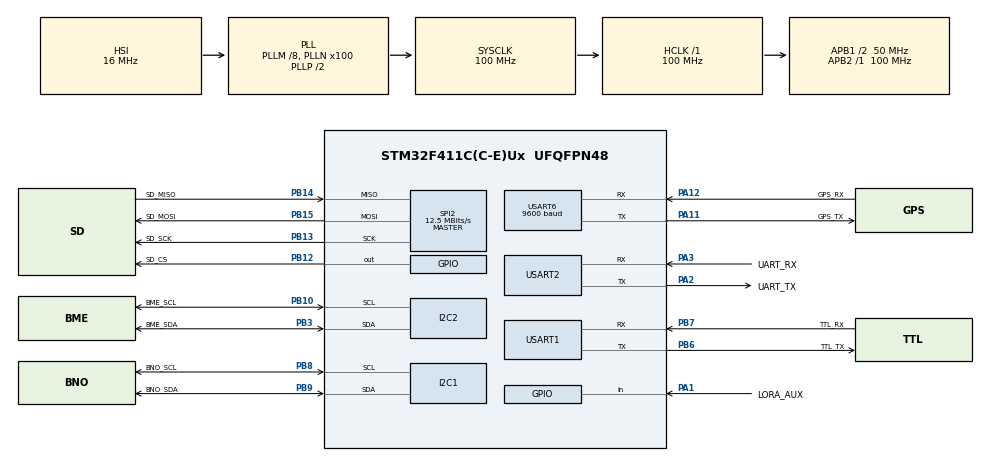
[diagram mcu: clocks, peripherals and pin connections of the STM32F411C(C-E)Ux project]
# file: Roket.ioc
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Dma.Request0=USART2_TX
Dma.USART2_TX.0.Direction=DMA_MEMORY_TO_PERIPH
Dma.USART2_TX.0.FIFOMode=DMA_FIFOMODE_DISABLE
Dma.USART2_TX.0.Instance=DMA1_Stream6
Dma.USART2_TX.0.MemDataAlignment=DMA_MDATAALIGN_BYTE
Dma.USART2_TX.0.MemInc=DMA_MINC_ENABLE
Dma.USART2_TX.0.Mode=DMA_NORMAL
Dma.USART2_TX.0.PeriphDataAlignment=DMA_PDATAALIGN_BYTE
Dma.USART2_TX.0.PeriphInc=DMA_PINC_DISABLE
Dma.USART2_TX.0.Priority=DMA_PRIORITY_LOW
I2C1.I2C_Mode=I2C_Fast
I2C2.I2C_Mode=I2C_Fast
Mcu.Family=STM32F4
Mcu.Name=STM32F411C(C-E)Ux
Mcu.Package=UFQFPN48
NVIC.DMA1_Stream6_IRQn=true\:0\:0\:false\:false\:true\:false\:true\:true
NVIC.PriorityGroup=NVIC_PRIORITYGROUP_4
NVIC.USART1_IRQn=true\:0\:0\:false\:false\:true\:true\:true\:true
NVIC.USART2_IRQn=true\:0\:0\:false\:false\:true\:true\:true\:true
NVIC.USART6_IRQn=true\:0\:0\:false\:false\:true\:true\:true\:true
PA1.GPIO_Label=LORA_AUX
PA1.Signal=GPIO_Input
PA11.GPIO_Label=GPS_TX
PA11.Mode=Asynchronous
PA11.Signal=USART6_TX
PA12.GPIO_Label=GPS_RX
PA12.Mode=Asynchronous
PA12.Signal=USART6_RX
PA2.GPIO_Label=UART_TX
PA2.Mode=Asynchronous
PA2.Signal=USART2_TX
PA3.GPIO_Label=UART_RX
PA3.Mode=Asynchronous
PA3.Signal=USART2_RX
PB10.GPIO_Label=BME_SCL
PB10.Mode=I2C
PB10.Signal=I2C2_SCL
PB12.GPIO_Label=SD_CS
PB12.Signal=GPIO_Output
PB13.GPIO_Label=SD_SCK
PB13.Mode=Full_Duplex_Master
PB13.Signal=SPI2_SCK
PB14.GPIO_Label=SD_MISO
PB14.Mode=Full_Duplex_Master
PB14.Signal=SPI2_MISO
PB15.GPIO_Label=SD_MOSI
PB15.Mode=Full_Duplex_Master
PB15.Signal=SPI2_MOSI
PB3.GPIO_Label=BME_SDA
PB3.Mode=I2C
PB3.Signal=I2C2_SDA
PB6.GPIO_Label=TTL_TX
PB6.Mode=Asynchronous
PB6.Signal=USART1_TX
PB7.GPIO_Label=TTL_RX
PB7.Mode=Asynchronous
PB7.Signal=USART1_RX
PB8.GPIO_Label=BNO_SCL
PB8.Mode=I2C
PB8.Signal=I2C1_SCL
PB9.GPIO_Label=BNO_SDA
PB9.Mode=I2C
PB9.Signal=I2C1_SDA
ProjectManager.HeapSize=0x200
ProjectManager.StackSize=0x400
ProjectManager.TargetToolchain=Makefile
RCC.48MHZClocksFreq_Value=50000000
RCC.AHBFreq_Value=100000000
RCC.APB1CLKDivider=RCC_HCLK_DIV2
RCC.APB1Freq_Value=50000000
RCC.APB1TimFreq_Value=100000000
RCC.APB2Freq_Value=100000000
RCC.APB2TimFreq_Value=100000000
RCC.CortexFreq_Value=100000000
RCC.HCLKFreq_Value=100000000
RCC.HSE_VALUE=25000000
RCC.HSI_VALUE=16000000
RCC.LSE_VALUE=32768
RCC.PLLM=8
RCC.PLLN=100
RCC.SYSCLKFreq_VALUE=100000000
RCC.SYSCLKSource=RCC_SYSCLKSOURCE_PLLCLK
RCC.VCOOutputFreq_Value=200000000
SPI2.BaudRatePrescaler=SPI_BAUDRATEPRESCALER_4
SPI2.CalculateBaudRate=12.5 MBits/s
SPI2.Direction=SPI_DIRECTION_2LINES
SPI2.Mode=SPI_MODE_MASTER
SPI2.VirtualType=VM_MASTER
USART1.VirtualMode=VM_ASYNC
USART2.VirtualMode=VM_ASYNC
USART6.BaudRate=9600
USART6.VirtualMode=VM_ASYNC
board=custom

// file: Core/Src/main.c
/* USER CODE BEGIN Header */
/**
  ******************************************************************************
  * @file           : main.c
  * @brief          : Main program body
  ******************************************************************************
  * @attention
  *
  * Copyright (c) 2026 STMicroelectronics.
  * All rights reserved.
  *
  * This software is licensed under terms that can be found in the LICENSE file
  * in the root directory of this software component.
  * If no LICENSE file comes with this software, it is provided AS-IS.
  *
  ******************************************************************************
  */
/* USER CODE END Header */
#include "main.h"

/* USER CODE BEGIN Includes */
#include "gps.h"
#include "lora_e22.h"
#include "flight_logic.h"
#include "app.h"
#include "BNO085_app.h"
#include "Quaternion.h"
/* USER CODE END Includes */

I2C_HandleTypeDef hi2c1;
I2C_HandleTypeDef hi2c2;

SPI_HandleTypeDef hspi2;

UART_HandleTypeDef huart1;
UART_HandleTypeDef huart2;
UART_HandleTypeDef huart6;
DMA_HandleTypeDef hdma_usart2_tx;

void SystemClock_Config(void);
static void MX_GPIO_Init(void);
static void MX_DMA_Init(void);
static void MX_I2C1_Init(void);
static void MX_SPI2_Init(void);
static void MX_USART2_UART_Init(void);
static void MX_USART1_UART_Init(void);
static void MX_USART6_UART_Init(void);
static void MX_I2C2_Init(void);

/* USER CODE BEGIN 0 */
void HAL_UART_RxCpltCallback(UART_HandleTypeDef *huart) {
    // Adafruit GPS on USART6
    if (huart->Instance == USART6) {
        extern uint8_t rx_byte; // Located in gps.c
        GPS_UART_RxCallback(rx_byte);
    }
}

// Struct to pack and send telemetry to the ground station
typedef struct __attribute__((packed)) {
    uint8_t  header;       // 0xAA
    float    altitude;
    float    velocity_z;
    float    pitch;
    float    latitude;
    float    longitude;
    uint8_t  flight_state; // Bitmask of current state
} GroundTelemetry_t;
/* USER CODE END 0 */

int main(void)
{

  /* MCU Configuration--------------------------------------------------------*/

  /* Reset of all peripherals, Initializes the Flash interface and the Systick. */
  HAL_Init();

  /* Configure the system clock */
  SystemClock_Config();

  /* Initialize all configured peripherals */
  MX_GPIO_Init();
  MX_DMA_Init();
  MX_I2C1_Init();
  MX_SPI2_Init();
  MX_USART2_UART_Init();
  MX_USART1_UART_Init();
  MX_USART6_UART_Init();
  MX_I2C2_Init();
  /* USER CODE BEGIN 2 */
  E22_Init();      // Wait for LoRa module to boot
  GPS_Init();      // Start listening for GPS NMEA sentences
  main_avionic_init(); // Init BME680 and BNO085

  uint32_t last_10hz_time = 0;
  GroundTelemetry_t telemetry_packet;
  memset(&telemetry_packet, 0, sizeof(GroundTelemetry_t)); // Zero out the struct
  telemetry_packet.header = 0xAA; // Ground station sync byte
  /* USER CODE END 2 */

  /* Infinite loop */
  /* USER CODE BEGIN WHILE */
  while (1)
  {
      // 1. Process GPS Data (runs whenever a full NMEA string arrives in the background)
      GPS_Process();

      // 2. Read Raw Sensors (BME680 via I2C2, BNO085 via I2C1)
      main_avionic_loop();

      float raw_alt = current_alt_m;
      float raw_vz = 0.0f; // Need to calculate derived velocity later
      float raw_pitch = BNO080_Pitch;

      // 3. KALMAN FILTER
      // Feed raw data into your Kalman equations here to get clean data
      float filtered_alt   = raw_alt;   // Placeholder
      float filtered_vz    = raw_vz;    // Placeholder
      float filtered_pitch = raw_pitch; // Placeholder

      // 4. Evaluate Flight Logic (Triggers MOSFETs if conditions are met)
      Process_Flight_Logic(filtered_alt, filtered_vz, filtered_pitch);

      // 5. The strict 10Hz (100ms) Telemetry Loop
      if (HAL_GetTick() - last_10hz_time >= 100) {
          last_10hz_time = HAL_GetTick();

          // Populate the struct with the latest filtered data
          telemetry_packet.altitude   = filtered_alt;
          telemetry_packet.velocity_z = filtered_vz;
          telemetry_packet.pitch      = filtered_pitch;

          // If GPS is locked, update coordinates
          if (current_gps_data.fix_quality > 0) {
              telemetry_packet.latitude  = current_gps_data.latitude;
              telemetry_packet.longitude = current_gps_data.longitude;
          }

          // Pack flight state into a single byte for the ground station dashboard
          telemetry_packet.flight_state =
              (current_flight_state.liftoff_detected << 0) |
              (current_flight_state.apogee_detected  << 1) |
              (current_flight_state.drogue_deployed  << 2) |
              (current_flight_state.main_deployed    << 3);

          // Send to Ground Station via LoRa E22 (USART2 via DMA)
          E22_SendPayload_DMA((uint8_t*)&telemetry_packet, sizeof(GroundTelemetry_t));
      }
    /* USER CODE END WHILE */

  }
}

void SystemClock_Config(void)
{
  RCC_OscInitTypeDef RCC_OscInitStruct = {0};
  RCC_ClkInitTypeDef RCC_ClkInitStruct = {0};

  /** Configure the main internal regulator output voltage
  */
  __HAL_RCC_PWR_CLK_ENABLE();
  __HAL_PWR_VOLTAGESCALING_CONFIG(PWR_REGULATOR_VOLTAGE_SCALE1);

  /** Initializes the RCC Oscillators according to the specified parameters
  * in the RCC_OscInitTypeDef structure.
  */
  RCC_OscInitStruct.OscillatorType = RCC_OSCILLATORTYPE_HSI;
  RCC_OscInitStruct.HSIState = RCC_HSI_ON;
  RCC_OscInitStruct.HSICalibrationValue = RCC_HSICALIBRATION_DEFAULT;
  RCC_OscInitStruct.PLL.PLLState = RCC_PLL_ON;
  RCC_OscInitStruct.PLL.PLLSource = RCC_PLLSOURCE_HSI;
  RCC_OscInitStruct.PLL.PLLM = 8;
  RCC_OscInitStruct.PLL.PLLN = 100;
  RCC_OscInitStruct.PLL.PLLP = RCC_PLLP_DIV2;
  RCC_OscInitStruct.PLL.PLLQ = 4;
  if (HAL_RCC_OscConfig(&RCC_OscInitStruct) != HAL_OK)
  {
    Error_Handler();
  }

  /** Initializes the CPU, AHB and APB buses clocks
  */
  RCC_ClkInitStruct.ClockType = RCC_CLOCKTYPE_HCLK|RCC_CLOCKTYPE_SYSCLK
                              |RCC_CLOCKTYPE_PCLK1|RCC_CLOCKTYPE_PCLK2;
  RCC_ClkInitStruct.SYSCLKSource = RCC_SYSCLKSOURCE_PLLCLK;
  RCC_ClkInitStruct.AHBCLKDivider = RCC_SYSCLK_DIV1;
  RCC_ClkInitStruct.APB1CLKDivider = RCC_HCLK_DIV2;
  RCC_ClkInitStruct.APB2CLKDivider = RCC_HCLK_DIV1;

  if (HAL_RCC_ClockConfig(&RCC_ClkInitStruct, FLASH_LATENCY_3) != HAL_OK)
  {
    Error_Handler();
  }
}

static void MX_I2C1_Init(void)
{

  hi2c1.Instance = I2C1;
  hi2c1.Init.ClockSpeed = 400000;
  hi2c1.Init.DutyCycle = I2C_DUTYCYCLE_2;
  hi2c1.Init.OwnAddress1 = 0;
  hi2c1.Init.AddressingMode = I2C_ADDRESSINGMODE_7BIT;
  hi2c1.Init.DualAddressMode = I2C_DUALADDRESS_DISABLE;
  hi2c1.Init.OwnAddress2 = 0;
  hi2c1.Init.GeneralCallMode = I2C_GENERALCALL_DISABLE;
  hi2c1.Init.NoStretchMode = I2C_NOSTRETCH_DISABLE;
  if (HAL_I2C_Init(&hi2c1) != HAL_OK)
  {
    Error_Handler();
  }

}

static void MX_I2C2_Init(void)
{

  hi2c2.Instance = I2C2;
  hi2c2.Init.ClockSpeed = 400000;
  hi2c2.Init.DutyCycle = I2C_DUTYCYCLE_2;
  hi2c2.Init.OwnAddress1 = 0;
  hi2c2.Init.AddressingMode = I2C_ADDRESSINGMODE_7BIT;
  hi2c2.Init.DualAddressMode = I2C_DUALADDRESS_DISABLE;
  hi2c2.Init.OwnAddress2 = 0;
  hi2c2.Init.GeneralCallMode = I2C_GENERALCALL_DISABLE;
  hi2c2.Init.NoStretchMode = I2C_NOSTRETCH_DISABLE;
  if (HAL_I2C_Init(&hi2c2) != HAL_OK)
  {
    Error_Handler();
  }

}

static void MX_SPI2_Init(void)
{

  /* SPI2 parameter configuration*/
  hspi2.Instance = SPI2;
  hspi2.Init.Mode = SPI_MODE_MASTER;
  hspi2.Init.Direction = SPI_DIRECTION_2LINES;
  hspi2.Init.DataSize = SPI_DATASIZE_8BIT;
  hspi2.Init.CLKPolarity = SPI_POLARITY_LOW;
  hspi2.Init.CLKPhase = SPI_PHASE_1EDGE;
  hspi2.Init.NSS = SPI_NSS_SOFT;
  hspi2.Init.BaudRatePrescaler = SPI_BAUDRATEPRESCALER_4;
  hspi2.Init.FirstBit = SPI_FIRSTBIT_MSB;
  hspi2.Init.TIMode = SPI_TIMODE_DISABLE;
  hspi2.Init.CRCCalculation = SPI_CRCCALCULATION_DISABLE;
  hspi2.Init.CRCPolynomial = 10;
  if (HAL_SPI_Init(&hspi2) != HAL_OK)
  {
    Error_Handler();
  }

}

static void MX_USART1_UART_Init(void)
{

  huart1.Instance = USART1;
  huart1.Init.BaudRate = 115200;
  huart1.Init.WordLength = UART_WORDLENGTH_8B;
  huart1.Init.StopBits = UART_STOPBITS_1;
  huart1.Init.Parity = UART_PARITY_NONE;
  huart1.Init.Mode = UART_MODE_TX_RX;
  huart1.Init.HwFlowCtl = UART_HWCONTROL_NONE;
  huart1.Init.OverSampling = UART_OVERSAMPLING_16;
  if (HAL_UART_Init(&huart1) != HAL_OK)
  {
    Error_Handler();
  }

}

static void MX_USART2_UART_Init(void)
{

  huart2.Instance = USART2;
  huart2.Init.BaudRate = 115200;
  huart2.Init.WordLength = UART_WORDLENGTH_8B;
  huart2.Init.StopBits = UART_STOPBITS_1;
  huart2.Init.Parity = UART_PARITY_NONE;
  huart2.Init.Mode = UART_MODE_TX_RX;
  huart2.Init.HwFlowCtl = UART_HWCONTROL_NONE;
  huart2.Init.OverSampling = UART_OVERSAMPLING_16;
  if (HAL_UART_Init(&huart2) != HAL_OK)
  {
    Error_Handler();
  }

}

static void MX_USART6_UART_Init(void)
{

  huart6.Instance = USART6;
  huart6.Init.BaudRate = 9600;
  huart6.Init.WordLength = UART_WORDLENGTH_8B;
  huart6.Init.StopBits = UART_STOPBITS_1;
  huart6.Init.Parity = UART_PARITY_NONE;
  huart6.Init.Mode = UART_MODE_TX_RX;
  huart6.Init.HwFlowCtl = UART_HWCONTROL_NONE;
  huart6.Init.OverSampling = UART_OVERSAMPLING_16;
  if (HAL_UART_Init(&huart6) != HAL_OK)
  {
    Error_Handler();
  }

}

static void MX_DMA_Init(void)
{

  /* DMA controller clock enable */
  __HAL_RCC_DMA1_CLK_ENABLE();

  /* DMA interrupt init */
  /* DMA1_Stream6_IRQn interrupt configuration */
  HAL_NVIC_SetPriority(DMA1_Stream6_IRQn, 0, 0);
  HAL_NVIC_EnableIRQ(DMA1_Stream6_IRQn);

}

static void MX_GPIO_Init(void)
{
  GPIO_InitTypeDef GPIO_InitStruct = {0};

  /* GPIO Ports Clock Enable */
  __HAL_RCC_GPIOA_CLK_ENABLE();
  __HAL_RCC_GPIOB_CLK_ENABLE();

  /*Configure GPIO pin Output Level */
  HAL_GPIO_WritePin(SD_CS_GPIO_Port, SD_CS_Pin, GPIO_PIN_RESET);

  /*Configure GPIO pin : LORA_AUX_Pin */
  GPIO_InitStruct.Pin = LORA_AUX_Pin;
  GPIO_InitStruct.Mode = GPIO_MODE_INPUT;
  GPIO_InitStruct.Pull = GPIO_NOPULL;
  HAL_GPIO_Init(LORA_AUX_GPIO_Port, &GPIO_InitStruct);

  /*Configure GPIO pin : SD_CS_Pin */
  GPIO_InitStruct.Pin = SD_CS_Pin;
  GPIO_InitStruct.Mode = GPIO_MODE_OUTPUT_PP;
  GPIO_InitStruct.Pull = GPIO_NOPULL;
  GPIO_InitStruct.Speed = GPIO_SPEED_FREQ_LOW;
  HAL_GPIO_Init(SD_CS_GPIO_Port, &GPIO_InitStruct);

}

void Error_Handler(void)
{
  __disable_irq();
  while (1)
  {
  }
}
